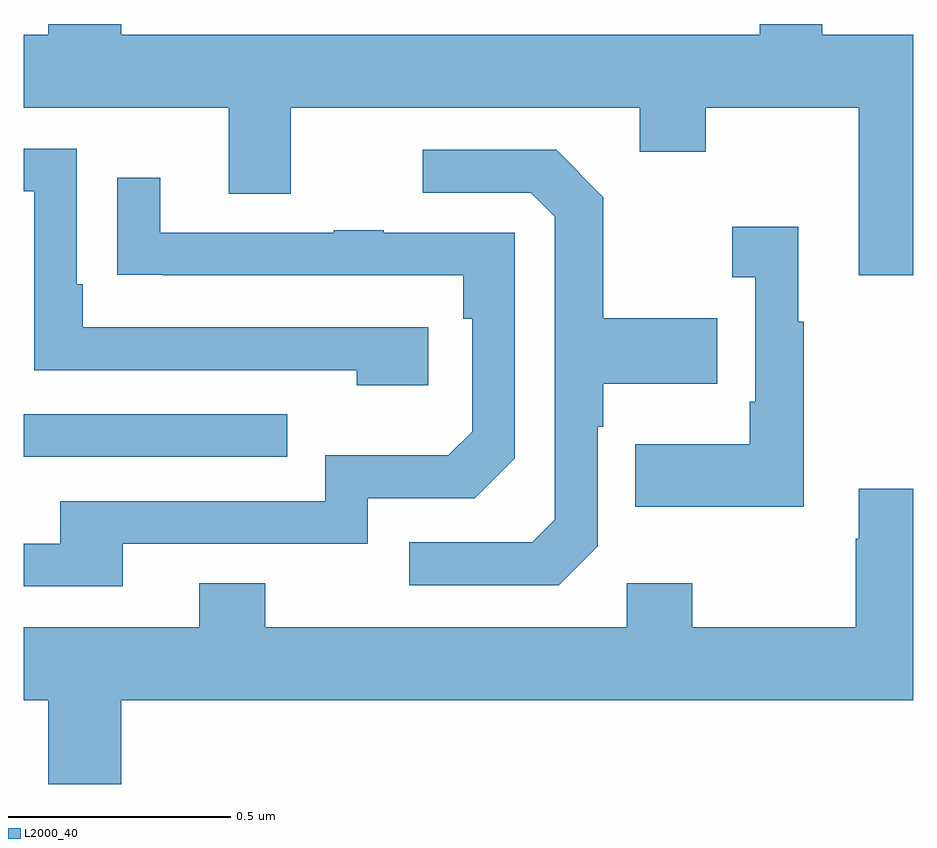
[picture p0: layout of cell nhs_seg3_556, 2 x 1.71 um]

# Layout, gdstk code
import gdstk
lib = gdstk.Library(unit=1e-6, precision=1e-09)
def R(c, l, rs):  # rectangles x0, y0, x1, y1
    for r in rs: c.add(gdstk.rectangle(r[:2], r[2:], *l))
def P(c, l, *ps):  # polygons
    for p in ps: c.add(gdstk.Polygon(p, *l))
L2000_40 = (2000, 40)

nhs_seg3_556 = lib.new_cell('nhs_seg3_556')
R(nhs_seg3_556, L2000_40, [(117,737.427,117.593,737.523)])
P(nhs_seg3_556, L2000_40, [(119,738.376),(118.795,738.376),(118.795,738.4),(118.655,738.4),(118.655,738.376),(117.22,738.376),(117.22,738.4),(117.056,738.4),(117.056,738.376),(117,738.376),(117,738.212),(117.461,738.212),(117.461,738.018),(117.601,738.018),(117.601,738.212),(118.385,738.212),(118.385,738.113),(118.533,738.113),(118.533,738.212),(118.877,738.212),(118.877,737.835),(119,737.835)],
  [(117.91,737.718),(117.133,737.718),(117.133,737.815),(117.12,737.815),(117.12,738.12),(117,738.12),(117,738.024),(117.024,738.024),(117.024,737.622),(117.749,737.622),(117.749,737.588),(117.91,737.588)],
  [(118.29,737.226),(118.29,737.495),(118.303,737.495),(118.303,737.591),(118.559,737.591),(118.559,737.739),(118.303,737.739),(118.303,738.011),(118.197,738.117),(117.897,738.117),(117.897,738.021),(118.14,738.021),(118.194,737.967),(118.194,737.286),(118.143,737.235),(117.867,737.235),(117.867,737.139),(118.203,737.139)],
  [(117.223,737.232),(117.774,737.232),(117.774,737.334),(118.014,737.334),(118.104,737.424),(118.104,737.931),(117.809,737.931),(117.809,737.936),(117.697,737.936),(117.697,737.931),(117.307,737.931),(117.307,738.055),(117.211,738.055),(117.211,737.836),(117.313,737.836),(117.313,737.835),(117.988,737.835),(117.988,737.738),(118.008,737.738),(118.008,737.484),(117.955,737.431),(117.678,737.431),(117.678,737.328),(117.083,737.328),(117.083,737.232),(117,737.232),(117,737.136),(117.223,737.136)],
  [(118.753,737.731),(118.741,737.731),(118.741,737.944),(118.593,737.944),(118.593,737.831),(118.644,737.831),(118.644,737.551),(118.632,737.551),(118.632,737.455),(118.375,737.455),(118.375,737.315),(118.753,737.315)],
  [(117.22,736.88),(119,736.88),(119,737.356),(118.877,737.356),(118.877,737.243),(118.87,737.243),(118.87,737.044),(118.503,737.044),(118.503,737.143),(118.356,737.143),(118.356,737.044),(117.543,737.044),(117.543,737.143),(117.395,737.143),(117.395,737.044),(117,737.044),(117,736.88),(117.056,736.88),(117.056,736.692),(117.22,736.692)])

lib.write_gds('nhs_seg3_556.gds')
